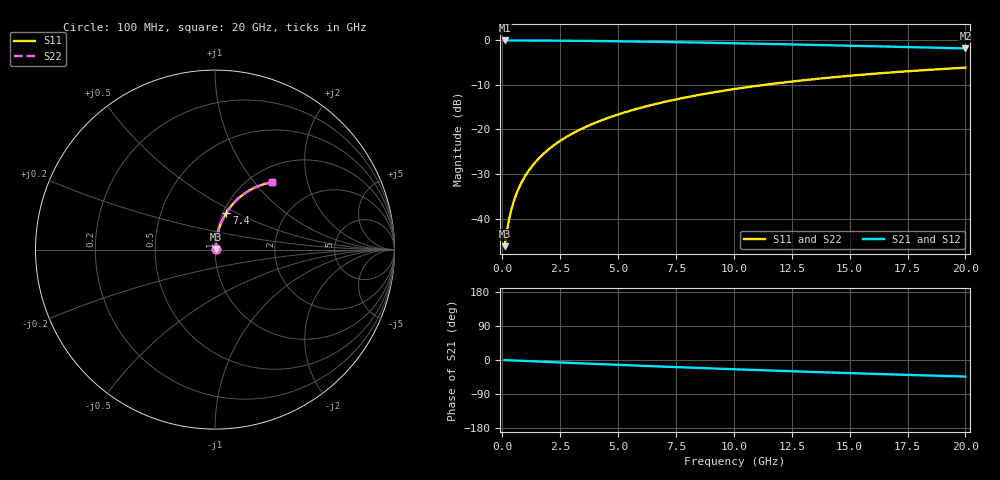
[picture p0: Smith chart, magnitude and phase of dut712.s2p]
! Touchstone file exported from HFSS 2024.1.0
!  File:  C:/UserFiles/LocalFiles/RDL_TSV_Batchsim/temp_RDL_bottom_712_1779858071.aedt
!  Generated:  01:03:45 PM May 27, 2026
!  Design:  RDL_bottom
!  Project:  temp_RDL_bottom_712_1779858071
!  Setup:  Setup1
!  Solution:  Sweep
! Variables:
!  dtsv = 10.80580581um
!  hbump = 3um
!  htsv = 94.03um
!  ldown = 540.74um
!  lrdl = 100um
!  p = 40
!  p1 = 57.13um
!  rhole = 1um
!  t = 450um
!  tdown = 4.05um
!  trdl = 3.915915916um
!  wdown = 12.6um
!  wrdl = 20um
# GHz S MA R 50.000000
! Terminal data exported
! Port[1] = RDL1_T1
! Port[2] = RDL1_T2
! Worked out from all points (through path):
!   200 points, 100 MHz to 20 GHz, reference 50 ohm
!   highest |S21| = -0.03 dB at 100 MHz (marker M1); lowest = -1.8 dB at 20 GHz (marker M2)
!   group delay of S21, straight-line fit = 6.06 ps
!   lowest |S11| = -46.2 dB at 100 MHz (marker M3), VSWR 1.01, Z = 50.4 + j0.31 ohm
!   |S11| at or under -10 dB: start of sweep to 11.31 GHz
!   |S22| runs from -46.2 to -6.1 dB; largest |S21 - S12| = 2.9e-15
!   S11 on the Smith chart (normalised r, x): 100 MHz: 1.01, +0.01; 7.4 GHz: 1.04, +0.45; 20 GHz: 1.26, +1.25
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0.1  0.004905 38.8  0.9962 -0.3  0.9962 -0.3  0.004905 38.8
! Gamma 0 0 0 0
! Port Impedance 50 0 50 0
0.2  0.007267 57.5  0.9961 -0.5  0.9961 -0.5  0.007267 57.5
0.3  0.01001 66.2  0.996 -0.8  0.996 -0.8  0.01001 66.2
0.4  0.01286 71.0  0.9958 -1.1  0.9958 -1.1  0.01286 71.0
0.5  0.01576 73.9  0.9957 -1.3  0.9957 -1.3  0.01575 74.0
0.6  0.01867 75.9  0.9955 -1.6  0.9955 -1.6  0.01867 75.9
0.8  0.02451 78.3  0.9952 -2.1  0.9952 -2.1  0.02451 78.3
1.1  0.0333 80.2  0.9946 -2.9  0.9946 -2.9  0.0333 80.2
1.5  0.04506 81.2  0.9937 -3.9  0.9937 -3.9  0.04506 81.2
1.8  0.05389 81.4  0.9928 -4.7  0.9928 -4.7  0.05389 81.4
2.1  0.06273 81.4  0.9918 -5.5  0.9918 -5.5  0.06273 81.4
2.7  0.08037 81.0  0.9893 -7.0  0.9893 -7.0  0.08037 81.0
3.5  0.1038 80.0  0.9852 -9.0  0.9852 -9.0  0.1038 80.0
4.2  0.1242 78.9  0.9809 -10.8  0.9809 -10.8  0.1242 78.9
5  0.1472 77.5  0.9753 -12.8  0.9753 -12.8  0.1472 77.5
6.8  0.198 74.1  0.9603 -17.1  0.9603 -17.1  0.1981 74.1
7.4  0.2146 72.9  0.9547 -18.5  0.9547 -18.5  0.2146 72.9
8.7  0.2496 70.3  0.9418 -21.5  0.9418 -21.5  0.2497 70.4
10.1  0.286 67.6  0.9269 -24.6  0.9269 -24.6  0.2861 67.6
13.4  0.3653 61.2  0.8892 -31.5  0.8892 -31.5  0.3654 61.2
16.7  0.4344 55.1  0.8499 -37.8  0.8499 -37.8  0.4346 55.2
20  0.4933 49.5  0.8109 -43.7  0.8109 -43.7  0.4935 49.6
